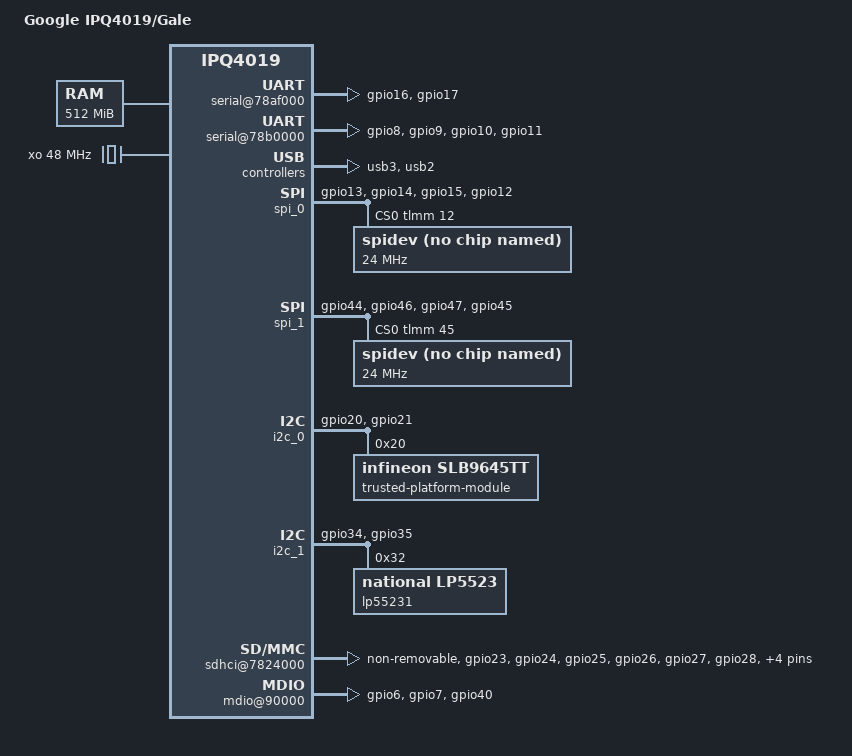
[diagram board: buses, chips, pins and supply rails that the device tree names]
/* Copyright (c) 2016, The Linux Foundation. All rights reserved.
 * Copyright (c) 2016 Google, Inc
 *
 * This program is free software; you can redistribute it and/or modify
 * it under the terms of the GNU General Public License version 2 as
 * published by the Free Software Foundation.
 */

#include "qcom-ipq4019.dtsi"
#include <dt-bindings/input/input.h>
#include <dt-bindings/gpio/gpio.h>

/ {
	model = "Google IPQ4019/Gale";
	compatible = "google,gale-v2", "qcom,ipq4019";

	memory {
		device_type = "memory";
		reg = <0x80000000 0x20000000>; /* 512MB */
	};

	clocks {
		xo: xo {
			compatible = "fixed-clock";
			clock-frequency = <48000000>;
			#clock-cells = <0>;
		};
	};

	reserved-memory {
		#address-cells = <1>;
		#size-cells = <1>;
		ranges;
		rsvd@87000000 {
			/* Reserved for other subsystem */
			reg = <0x87000000 0x01000000>;
			no-map;
		};
	};

	firmware {
		chromeos {
			pinctrl-0 = <&fw_pins>;
			pinctrl-names = "default";
			write-protect-gpio = <&tlmm 53 GPIO_ACTIVE_LOW>;
			recovery-switch = <&tlmm 57 GPIO_ACTIVE_LOW>;
			developer-switch = <&tlmm 41 GPIO_ACTIVE_LOW>;
		};
	};

	soc {

		pinctrl@0x01000000 {

			fw_pins: fw_pinmux {
				wp {
					pins = "gpio53";
					output-low;
				};
				recovery {
					pins = "gpio57";
					bias-none;
				};
				developer {
					pins = "gpio41";
					bias-none;
				};
			};

			reset802_15_4 {
					pins = "gpio60";
			};

			led_reset {
					pins = "gpio22";
					output-high;
			};

			sys_reset {
					pins = "gpio19";
					output-high;
			};

			rx_active {
					pins = "gpio43";
					bias-pull,down;
			};

			spi_0_pins: spi_0_pinmux {
				pinmux {
					function = "blsp_spi0";
					pins = "gpio13", "gpio14","gpio15";
				};
				pinmux_cs {
					function = "gpio";
					pins = "gpio12";
				};
				pinconf {
					pins = "gpio13", "gpio14","gpio15";
					drive-strength = <12>;
					bias-disable;
				};
				pinconf_cs {
					pins = "gpio12";
					drive-strength = <2>;
					bias-disable;
					output-high;
				};
			};

			spi_1_pins: spi_1_pinmux {
				pinmux {
					function = "blsp_spi1";
					pins = "gpio44", "gpio46","gpio47";
				};
				pinmux_cs {
					function = "gpio";
					pins = "gpio45";
				};
				pinconf {
					pins = "gpio44", "gpio46","gpio47";
					drive-strength = <12>;
					bias-disable;
				};
				pinconf_cs {
					pins = "gpio45";
					drive-strength = <2>;
					bias-disable;
					output-high;
				};
			};

			serial_0_pins: serial0_pinmux {
				mux {
					pins = "gpio16", "gpio17";
					function = "blsp_uart0";
					bias-disable;
				};
			};

			serial_1_pins: serial1_pinmux {
				mux {
					pins = "gpio8", "gpio9", "gpio10", "gpio11";
					function = "blsp_uart1";
					bias-disable;
				};
			};

			i2c_0_pins: i2c_0_pinmux {
				mux {
					pins = "gpio20", "gpio21";
					function = "blsp_i2c0";
					drive-open-drain;
				};
			};

			i2c_1_pins: i2c_1_pinmux {
				mux {
					pins = "gpio34", "gpio35";
					function = "blsp_i2c1";
					drive-open-drain;
				};
			};

			sd_0_pins: sd_0_pinmux {
				sd0 {
					pins = "gpio23";
					function = "sdio0";
					drive-strength = <10>;
				};
				sd1 {
					pins = "gpio24";
					function = "sdio1";
					drive-strength = <10>;
				};
				sd2 {
					pins = "gpio25";
					function = "sdio2";
					drive-strength = <10>;
				};
				sd3 {
					pins = "gpio26";
					function = "sdio3";
					drive-strength = <10>;
				};
				sdclk {
					pins = "gpio27";
					function = "sdio_clk";
					drive-strength = <4>;
				};
				sdcmd {
					pins = "gpio28";
					function = "sdio_cmd";
					drive-strength = <10>;
				};
				sd4 {
					pins = "gpio29";
					function = "sdio4";
					drive-strength = <10>;
				};
				sd5 {
					pins = "gpio30";
					function = "sdio5";
					drive-strength = <10>;
				};
				sd6 {
					pins = "gpio31";
					function = "sdio6";
					drive-strength = <10>;
				};
				sd7 {
					pins = "gpio32";
					function = "sdio7";
					drive-strength = <10>;
					bias-disable;
				};
			};

			mdio_pins: mdio_pinmux {
				mux_1 {
					pins = "gpio6";
					function = "mdio0";
					bias-disable;
				};
				mux_2 {
					pins = "gpio7";
					function = "mdc";
					bias-disable;
				};
				mux_3 {
					pins = "gpio40";
					function = "gpio";
					bias-disable;
					output-high;
				};
			};
		};

		blsp_dma: dma@7884000 {
			status = "ok";
		};

		serial@78af000 {
			pinctrl-0 = <&serial_0_pins>;
			pinctrl-names = "default";
			status = "ok";
		};

		serial@78b0000 {
			pinctrl-0 = <&serial_1_pins>;
			pinctrl-names = "default";
			status = "ok";
		};

		usb3_ss_phy: ssphy@0 {
			status = "ok";
		};

		dummy_ss_phy: ssphy@1 {
			status = "ok";
		};

		usb3_hs_phy: hsphy@a6000 {
			status = "ok";
		};

		usb2_hs_phy: hsphy@a8000 {
			status = "ok";
		};

		usb3: usb3@8a00000 {
			status = "ok";
		};

		usb2: usb2@6000000 {
			status = "ok";
		};

		spi_0: spi@78b5000 { /* BLSP1 QUP1 */
			pinctrl-0 = <&spi_0_pins>;
			pinctrl-names = "default";
			status = "ok";
			cs-gpios = <&tlmm 12 0>;

			spidev@0 {
				compatible = "spidev";
				reg = <0>;
				spi-max-frequency = <24000000>;
			};
		};

		spi_1: spi@78b6000 { /* BLSP1 QUP2 */
			pinctrl-0 = <&spi_1_pins>;
			pinctrl-names = "default";
			status = "ok";
			cs-gpios = <&tlmm 45 0>;

			spidev@0 {
				compatible = "spidev";
				reg = <0>;
				spi-max-frequency = <24000000>;
			};
		};

		i2c_0: i2c@78b7000 { /* BLSP1 QUP2 */
			pinctrl-0 = <&i2c_0_pins>;
			pinctrl-names = "default";
			status = "ok";
			trusted-platform-module {
				compatible = "infineon,slb9645tt";
				reg = <0x20>;
				powered-while-suspended;
			};
		};

		i2c_1: i2c@78b8000 { /* BLSP1 QUP3 */
			pinctrl-0 = <&i2c_1_pins>;
			pinctrl-names = "default";
			status = "ok";
			lp55231@32 {
				compatible = "national,lp5523";
				reg = <0x32>;
				clock-mode = [01];

				chan0 {
					chan-name = "LED0_Red";
					led-cur = [64];
					max-cur = [78];
				};

				chan1 {
					chan-name = "LED0_Green";
					led-cur = [64];
					max-cur = [78];
				};

				chan2 {
					chan-name = "LED0_Blue";
					led-cur = [64];
					max-cur = [78];
				};

				chan3 {
					chan-name = "LED1_Red";
					led-cur = [64];
					max-cur = [78];
				};

				chan4 {
					chan-name = "LED1_Green";
					led-cur = [64];
					max-cur = [78];
				};

				chan5 {
					chan-name = "LED1_Blue";
					led-cur = [64];
					max-cur = [78];
				};

				chan6 {
					chan-name = "LED2_Red";
					led-cur = [64];
					max-cur = [78];
				};

				chan7 {
					chan-name = "LED2_Green";
					led-cur = [64];
					max-cur = [78];
				};

				chan8 {
					chan-name = "LED2_Blue";
					led-cur = [64];
					max-cur = [78];
				};
			};
		};

		rng@0x00022000 {
			status = "ok";
		};

		qcom_crypto: qcrypto@8e20000 {
			status = "ok";
		};

		qcom_cedev: qcedev@8e20000 {
			status = "ok";
		};

		usb3: usb3@8a00000 {
			status = "ok";
		};

		usb2: usb2@6000000 {
			status = "ok";
		};

		vccq_sd0: regulator@0 {
			status = "ok";
		};

		sdhci@7824000 {
			status = "ok";
			pinctrl-0 = <&sd_0_pins>;
			pinctrl-names = "default";
			vqmmc-supply = <&vccq_sd0>;
			non-removable;
		};

		ess-switch@c000000 {
			switch_lan_bmp = <0x10>;
			switch_wan_bmp = <0x20>;
			switch_mac_mode = <0x0>;
		};

		mdio@90000 {
			status = "ok";
			pinctrl-0 = <&mdio_pins>;
			pinctrl-names = "default";
		};

		watchdog@b017000 {
			status = "ok";
		};

	};
};
